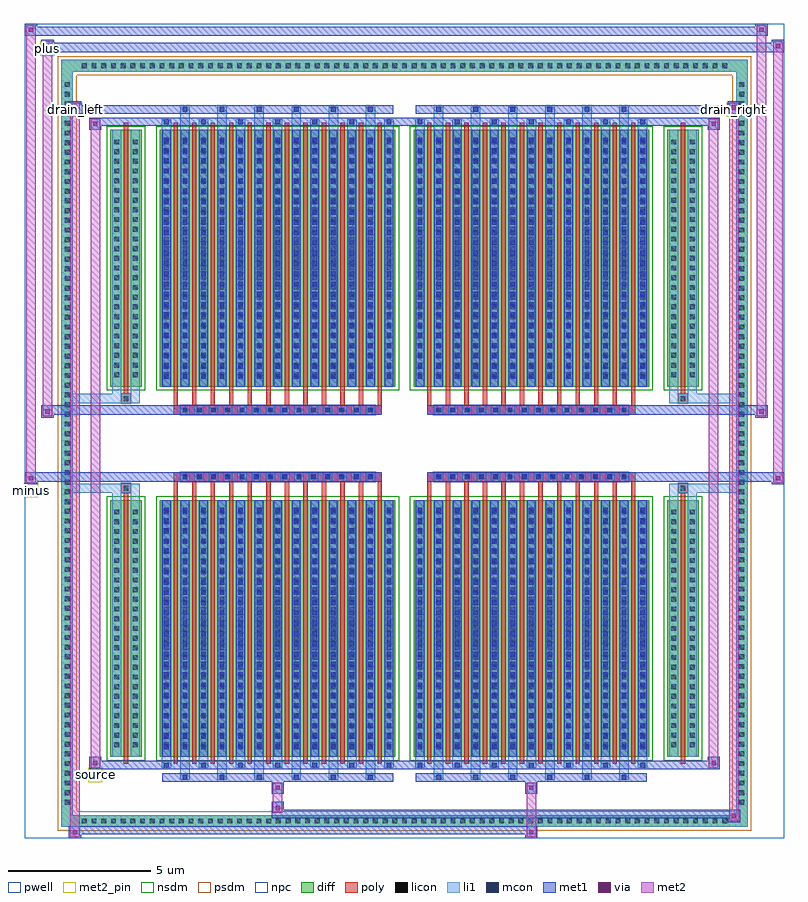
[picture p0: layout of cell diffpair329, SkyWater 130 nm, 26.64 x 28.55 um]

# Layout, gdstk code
import gdstk
lib = gdstk.Library(unit=1e-6, precision=5e-09)
def R(c, l, rs):  # rectangles x0, y0, x1, y1
    for r in rs: c.add(gdstk.rectangle(r[:2], r[2:], *l))
def A(c, l, x, y, w, h, nx, ny, dx, dy):  # array of equal rectangles
    R(c, l, [(x+i*dx, y+j*dy, x+i*dx+w, y+j*dy+h) for i in range(nx) for j in range(ny)])
def P(c, l, *ps):  # polygons
    for p in ps: c.add(gdstk.Polygon(p, *l))
pwell = (64, 44)
diff = (65, 20)
poly = (66, 20)
licon = (66, 44)
li1 = (67, 20)
mcon = (67, 44)
met1 = (68, 20)
via = (68, 44)
met2_pin = (69, 16)
met2 = (69, 20)
nsdm = (93, 44)
psdm = (94, 20)
npc = (95, 20)

diffpair329 = lib.new_cell('diffpair329')
R(diffpair329, pwell, [(-13.3,-13.84,13.3,14.71), (-10.62,-12.03,-0.01,-0.805), (0.01,-12.03,10.62,-0.805), (-10.62,0.805,-0.01,12.03), (0.01,0.805,10.62,12.03)])
A(diffpair329, diff, -11.425, -13.44, 0.41, 0.41, 67, 2, 0.34, 26.47)
A(diffpair329, diff, -12.03, -12.785, 0.41, 0.41, 1, 75, 0, 0.34)
A(diffpair329, diff, 11.62, -12.785, 0.41, 0.41, 1, 75, 0, 0.34)
R(diffpair329, diff, [(-11.425,-13.44,11.425,-13.03), (-12.03,-12.785,-11.62,12.785), (11.62,-12.785,12.03,12.785), (-10.31,-10.985,-9.21,-1.985), (-8.57,-10.985,-0.32,-1.985), (0.32,-10.985,8.57,-1.985), (9.21,-10.985,10.31,-1.985), (-10.31,1.985,-9.21,10.985), (-8.57,1.985,-0.32,10.985), (0.32,1.985,8.57,10.985), (9.21,1.985,10.31,10.985), (-11.425,13.03,11.425,13.44)])
P(diffpair329, diff, [(12.03,13.44),(-12.03,13.44),(-12.03,-13.03),(-11.62,-13.03),(-11.62,13.03),(11.62,13.03),(11.62,-13.03),(-11.62,-13.03),(-12.03,-13.03),(-12.03,-13.44),(12.03,-13.44)])
A(diffpair329, poly, -8.095, -11.235, 0.15, 9.5, 12, 2, 0.65, 12.97)
A(diffpair329, poly, 0.795, -11.235, 0.15, 9.5, 12, 2, 0.65, 12.97)
A(diffpair329, poly, -8.095, -1.735, 0.15, 0.4, 12, 2, 0.65, 3.07)
A(diffpair329, poly, 0.795, -1.735, 0.15, 0.4, 12, 2, 0.65, 3.07)
A(diffpair329, poly, -7.86, -1.335, 0.33, 0.33, 14, 2, 0.5, 2.34)
A(diffpair329, poly, 1.03, -1.335, 0.33, 0.33, 14, 2, 0.5, 2.34)
R(diffpair329, poly, [(-9.835,-11.235,-9.685,-1.735), (9.685,-11.235,9.835,-1.735), (-9.925,-1.735,-9.595,-1.405), (-9.925,-1.735,-9.595,-1.405), (9.595,-1.735,9.925,-1.405), (9.595,-1.735,9.925,-1.405), (-8.095,-1.335,-0.795,-1.005), (0.795,-1.335,8.095,-1.005), (-8.095,1.005,-0.795,1.335), (0.795,1.005,8.095,1.335), (-9.925,1.405,-9.595,1.735), (-9.925,1.405,-9.595,1.735), (9.595,1.405,9.925,1.735), (9.595,1.405,9.925,1.735), (-9.835,1.735,-9.685,11.235), (9.685,1.735,9.835,11.235)])
A(diffpair329, licon, -11.305, -13.32, 0.17, 0.17, 67, 2, 0.34, 26.47)
A(diffpair329, licon, -11.91, -12.665, 0.17, 0.17, 1, 75, 0, 0.34)
A(diffpair329, licon, 11.74, -12.665, 0.17, 0.17, 1, 75, 0, 0.34)
A(diffpair329, licon, -10.17, -10.65, 0.17, 0.17, 1, 25, 0, 0.34)
A(diffpair329, licon, -9.52, -10.65, 0.17, 0.17, 1, 25, 0, 0.34)
A(diffpair329, licon, -8.43, -10.65, 0.17, 0.17, 13, 25, 0.65, 0.34)
A(diffpair329, licon, 0.46, -10.65, 0.17, 0.17, 13, 25, 0.65, 0.34)
A(diffpair329, licon, 9.35, -10.65, 0.17, 0.17, 1, 25, 0, 0.34)
A(diffpair329, licon, 10, -10.65, 0.17, 0.17, 1, 25, 0, 0.34)
A(diffpair329, licon, -7.78, -1.255, 0.17, 0.17, 14, 2, 0.5, 2.34)
A(diffpair329, licon, 1.11, -1.255, 0.17, 0.17, 14, 2, 0.5, 2.34)
A(diffpair329, licon, -10.17, 2.32, 0.17, 0.17, 1, 25, 0, 0.34)
A(diffpair329, licon, -9.52, 2.32, 0.17, 0.17, 1, 25, 0, 0.34)
A(diffpair329, licon, -8.43, 2.32, 0.17, 0.17, 13, 25, 0.65, 0.34)
A(diffpair329, licon, 0.46, 2.32, 0.17, 0.17, 13, 25, 0.65, 0.34)
A(diffpair329, licon, 9.35, 2.32, 0.17, 0.17, 1, 25, 0, 0.34)
A(diffpair329, licon, 10, 2.32, 0.17, 0.17, 1, 25, 0, 0.34)
R(diffpair329, licon, [(-9.845,-1.655,-9.675,-1.485), (9.675,-1.655,9.845,-1.485), (-9.845,1.485,-9.675,1.655), (9.675,1.485,9.845,1.655)])
A(diffpair329, li1, -11.385, -13.4, 0.33, 0.33, 67, 2, 0.34, 26.47)
A(diffpair329, li1, -11.99, -12.745, 0.33, 0.33, 1, 75, 0, 0.34)
A(diffpair329, li1, 11.66, -12.745, 0.33, 0.33, 1, 75, 0, 0.34)
A(diffpair329, li1, -7.86, -11.79, 0.33, 0.805, 6, 2, 1.3, 22.775)
A(diffpair329, li1, -7.78, -11.79, 0.17, 0.17, 6, 2, 1.3, 23.41)
A(diffpair329, li1, 1.03, -11.79, 0.33, 0.805, 6, 2, 1.3, 22.775)
A(diffpair329, li1, 1.11, -11.79, 0.17, 0.17, 6, 2, 1.3, 23.41)
A(diffpair329, li1, -8.51, -11.36, 0.33, 0.375, 7, 2, 1.3, 22.345)
A(diffpair329, li1, -8.43, -11.36, 0.17, 0.17, 7, 2, 1.3, 22.55)
A(diffpair329, li1, 0.38, -11.36, 0.33, 0.375, 7, 2, 1.3, 22.345)
A(diffpair329, li1, 0.46, -11.36, 0.17, 0.17, 7, 2, 1.3, 22.55)
A(diffpair329, li1, -8.51, -10.985, 0.33, 9, 13, 2, 0.65, 12.97)
A(diffpair329, li1, 0.38, -10.985, 0.33, 9, 13, 2, 0.65, 12.97)
A(diffpair329, li1, -10.25, -10.73, 0.33, 0.33, 1, 25, 0, 0.34)
A(diffpair329, li1, -9.6, -10.73, 0.33, 0.33, 1, 25, 0, 0.34)
A(diffpair329, li1, -8.51, -10.73, 0.33, 0.33, 13, 25, 0.65, 0.34)
A(diffpair329, li1, 0.38, -10.73, 0.33, 0.33, 13, 25, 0.65, 0.34)
A(diffpair329, li1, 9.27, -10.73, 0.33, 0.33, 1, 25, 0, 0.34)
A(diffpair329, li1, 9.92, -10.73, 0.33, 0.33, 1, 25, 0, 0.34)
A(diffpair329, li1, -8.43, -10.71, 0.17, 0.17, 13, 24, 0.65, 0.36)
A(diffpair329, li1, -8.43, -10.71, 0.17, 8.45, 13, 2, 0.65, 12.97)
A(diffpair329, li1, 0.46, -10.71, 0.17, 0.17, 13, 24, 0.65, 0.36)
A(diffpair329, li1, 0.46, -10.71, 0.17, 8.45, 13, 2, 0.65, 12.97)
A(diffpair329, li1, -7.86, -1.335, 0.33, 0.33, 14, 2, 0.5, 2.34)
A(diffpair329, li1, 1.03, -1.335, 0.33, 0.33, 14, 2, 0.5, 2.34)
A(diffpair329, li1, -10.25, 2.24, 0.33, 0.33, 1, 25, 0, 0.34)
A(diffpair329, li1, -9.6, 2.24, 0.33, 0.33, 1, 25, 0, 0.34)
A(diffpair329, li1, -8.51, 2.24, 0.33, 0.33, 13, 25, 0.65, 0.34)
A(diffpair329, li1, 0.38, 2.24, 0.33, 0.33, 13, 25, 0.65, 0.34)
A(diffpair329, li1, 9.27, 2.24, 0.33, 0.33, 1, 25, 0, 0.34)
A(diffpair329, li1, 9.92, 2.24, 0.33, 0.33, 1, 25, 0, 0.34)
A(diffpair329, li1, -8.43, 2.26, 0.17, 0.17, 13, 24, 0.65, 0.36)
A(diffpair329, li1, 0.46, 2.26, 0.17, 0.17, 13, 24, 0.65, 0.36)
R(diffpair329, li1, [(-12.03,-13.44,-11.62,-13.03), (-12.03,-13.44,-11.62,-13.03), (-11.62,-13.44,11.62,-13.03), (11.62,-13.44,12.03,-13.03), (11.62,-13.44,12.03,-13.03), (-12.03,-13.03,-11.62,13.03), (11.62,-13.03,12.03,13.03), (-10.25,-10.985,-9.92,-1.985), (-9.6,-10.985,-9.27,-1.985), (9.27,-10.985,9.6,-1.985), (9.92,-10.985,10.25,-1.985), (-10.25,-1.985,-9.92,-1.405), (-9.6,-1.985,-9.27,-1.405), (9.27,-1.985,9.6,-1.405), (9.92,-1.985,10.25,-1.405), (-12.03,-1.735,-9.925,-1.405), (-10.25,-1.735,-9.925,-1.405), (-9.925,-1.735,-9.595,-1.405), (-9.595,-1.735,-9.27,-1.405), (9.27,-1.735,9.595,-1.405), (9.595,-1.735,9.925,-1.405), (9.595,-1.735,12.03,-1.405), (9.925,-1.735,10.25,-1.405), (-12.03,1.405,-9.925,1.735), (-10.25,1.405,-9.925,1.735), (-10.25,1.405,-9.92,1.985), (-9.925,1.405,-9.595,1.735), (-9.6,1.405,-9.27,1.985), (-9.595,1.405,-9.27,1.735), (9.27,1.405,9.595,1.735), (9.27,1.405,9.6,1.985), (9.595,1.405,9.925,1.735), (9.595,1.405,12.03,1.735), (9.92,1.405,10.25,1.985), (9.925,1.405,10.25,1.735), (-10.25,1.985,-9.92,10.985), (-9.6,1.985,-9.27,10.985), (9.27,1.985,9.6,10.985), (9.92,1.985,10.25,10.985), (-12.03,13.03,-11.62,13.44), (-12.03,13.03,-11.62,13.44), (-11.62,13.03,11.62,13.44), (11.62,13.03,12.03,13.44), (11.62,13.03,12.03,13.44)])
A(diffpair329, mcon, -7.78, -11.79, 0.17, 0.17, 6, 2, 1.3, 23.41)
A(diffpair329, mcon, 1.11, -11.79, 0.17, 0.17, 6, 2, 1.3, 23.41)
A(diffpair329, mcon, -8.43, -11.36, 0.17, 0.17, 7, 2, 1.3, 22.55)
A(diffpair329, mcon, 0.46, -11.36, 0.17, 0.17, 7, 2, 1.3, 22.55)
A(diffpair329, mcon, -8.43, -10.71, 0.17, 0.17, 13, 24, 0.65, 0.36)
A(diffpair329, mcon, 0.46, -10.71, 0.17, 0.17, 13, 24, 0.65, 0.36)
A(diffpair329, mcon, -7.78, -1.255, 0.17, 0.17, 14, 2, 0.5, 2.34)
A(diffpair329, mcon, 1.11, -1.255, 0.17, 0.17, 14, 2, 0.5, 2.34)
A(diffpair329, mcon, -8.43, 2.26, 0.17, 0.17, 13, 24, 0.65, 0.36)
A(diffpair329, mcon, 0.46, 2.26, 0.17, 0.17, 13, 24, 0.65, 0.36)
A(diffpair329, met1, -7.84, -11.85, 0.29, 0.29, 6, 2, 1.3, 23.41)
A(diffpair329, met1, 1.05, -11.85, 0.29, 0.29, 6, 2, 1.3, 23.41)
A(diffpair329, met1, -8.49, -11.42, 0.29, 0.29, 7, 2, 1.3, 22.55)
A(diffpair329, met1, 0.4, -11.42, 0.29, 0.29, 7, 2, 1.3, 22.55)
A(diffpair329, met1, -8.49, -10.985, 0.29, 9, 13, 2, 0.65, 12.97)
A(diffpair329, met1, 0.4, -10.985, 0.29, 9, 13, 2, 0.65, 12.97)
A(diffpair329, met1, -8.49, -10.77, 0.29, 0.29, 13, 24, 0.65, 0.36)
A(diffpair329, met1, 0.4, -10.77, 0.29, 0.29, 13, 24, 0.65, 0.36)
A(diffpair329, met1, -7.84, -1.315, 0.29, 0.29, 14, 2, 0.5, 2.34)
A(diffpair329, met1, 1.05, -1.315, 0.29, 0.29, 14, 2, 0.5, 2.34)
A(diffpair329, met1, -8.49, 2.2, 0.29, 0.29, 13, 24, 0.65, 0.36)
A(diffpair329, met1, 0.4, 2.2, 0.29, 0.29, 13, 24, 0.65, 0.36)
R(diffpair329, met1, [(-11.76,-13.84,-11.33,-13.41), (4.23,-13.84,4.66,-13.41), (-11.76,-13.7,4.66,-13.41), (11.33,-13.27,11.76,-12.84), (-4.66,-13.13,11.76,-12.84), (-4.66,-12.99,-4.23,-12.56), (-4.66,-12.28,-4.23,-11.85), (4.23,-12.28,4.66,-11.85), (-8.49,-11.85,-0.4,-11.56), (0.4,-11.85,8.49,-11.56), (-11.05,-11.42,-10.62,-10.99), (-11.05,-11.42,-8.49,-11.13), (-8.49,-11.42,-0.4,-11.13), (-0.4,-11.42,0.4,-11.13), (0.4,-11.42,8.49,-11.13), (8.49,-11.42,11.05,-11.13), (10.62,-11.42,11.05,-10.99), (-13.3,-1.435,-12.87,-1.005), (12.87,-1.435,13.3,-1.005), (-13.3,-1.335,-0.795,-1.005), (-8.095,-1.335,-0.795,-1.005), (0.795,-1.335,8.095,-1.005), (0.795,-1.335,13.3,-1.005), (-12.73,0.905,-12.3,1.335), (12.3,0.905,12.73,1.335), (-12.73,1.005,-8.095,1.335), (-8.095,1.005,-0.795,1.335), (0.795,1.005,8.095,1.335), (8.095,1.005,12.73,1.335), (-11.05,10.99,-10.62,11.42), (10.62,10.99,11.05,11.42), (-11.05,11.13,-8.49,11.42), (-8.49,11.13,-0.4,11.42), (-0.4,11.13,0.4,11.42), (0.4,11.13,8.49,11.42), (8.49,11.13,11.05,11.42), (-11.76,11.56,-11.33,11.99), (-11.76,11.56,-8.49,11.85), (-8.49,11.56,-0.4,11.85), (0.4,11.56,8.49,11.85), (8.49,11.56,11.76,11.85), (11.33,11.56,11.76,11.99), (-12.73,13.71,-12.3,14.14), (-12.73,13.71,-10.62,14.04), (-10.62,13.71,10.62,14.04), (10.62,13.71,13.3,14.04), (12.87,13.71,13.3,14.14), (-13.3,14.28,-12.87,14.71), (-13.3,14.28,-10.62,14.61), (-10.62,14.28,10.62,14.61), (10.62,14.28,12.73,14.61), (12.3,14.28,12.73,14.71)])
R(diffpair329, via, [(-11.62,-13.7,-11.47,-13.55), (4.37,-13.7,4.52,-13.55), (11.47,-13.13,11.62,-12.98), (-4.52,-12.85,-4.37,-12.7), (-4.52,-12.14,-4.37,-11.99), (4.37,-12.14,4.52,-11.99), (-10.91,-11.28,-10.76,-11.13), (10.76,-11.28,10.91,-11.13), (-13.16,-1.295,-13.01,-1.145), (13.01,-1.295,13.16,-1.145), (-12.59,1.045,-12.44,1.195), (12.44,1.045,12.59,1.195), (-10.91,11.13,-10.76,11.28), (10.76,11.13,10.91,11.28), (-11.62,11.7,-11.47,11.85), (11.47,11.7,11.62,11.85), (-12.59,13.85,-12.44,14), (13.01,13.85,13.16,14), (-13.16,14.42,-13.01,14.57), (12.44,14.42,12.59,14.57)])
R(diffpair329, met2_pin, [(-11.085,-11.87,-10.585,-11.37), (-13.335,-1.885,-12.835,-1.385), (-11.795,11.44,-11.295,11.94), (11.295,11.44,11.795,11.94), (-12.765,13.59,-12.265,14.09)])
R(diffpair329, met2, [(-11.71,-13.79,-11.38,-13.46), (-11.71,-13.79,-11.38,11.94), (4.28,-13.79,4.61,-13.46), (4.28,-13.46,4.61,-12.23), (11.38,-13.22,11.71,-12.89), (11.38,-13.22,11.71,11.94), (-4.61,-12.94,-4.28,-12.61), (-4.61,-12.61,-4.28,-12.23), (-4.61,-12.23,-4.28,-11.9), (4.28,-12.23,4.61,-11.9), (-11,-11.37,-10.67,-11.04), (-11,-11.37,-10.67,11.37), (10.67,-11.37,11,-11.04), (10.67,-11.37,11,11.37), (-13.25,-1.385,-12.92,-1.055), (-13.25,-1.385,-12.92,14.66), (12.92,-1.385,13.25,-1.055), (12.92,-1.385,13.25,14.09), (-12.68,0.955,-12.35,1.285), (-12.68,0.955,-12.35,14.09), (12.35,0.955,12.68,1.285), (12.35,0.955,12.68,14.66), (-11,11.04,-10.67,11.37), (10.67,11.04,11,11.37), (-11.71,11.61,-11.38,11.94), (11.38,11.61,11.71,11.94), (-12.68,13.76,-12.35,14.09), (12.92,13.76,13.25,14.09), (-13.25,14.33,-12.92,14.66), (12.35,14.33,12.68,14.66)])
P(diffpair329, met2, [(13.25,-1.385),(13.25,-1.385),(13.25,-1.055),(13.25,-1.055)],
  [(13.25,13.76),(13.25,13.76),(13.25,14.09),(13.25,14.09)],
  [(-12.92,-1.385),(-12.92,-1.385),(-12.92,-1.055),(-12.92,-1.055)],
  [(-12.92,14.33),(-12.92,14.33),(-12.92,14.66),(-12.92,14.66)],
  [(12.68,0.955),(12.68,0.955),(12.68,1.285),(12.68,1.285)],
  [(12.68,14.33),(12.68,14.33),(12.68,14.66),(12.68,14.66)],
  [(-12.35,0.955),(-12.35,0.955),(-12.35,1.285),(-12.35,1.285)],
  [(-12.35,13.76),(-12.35,13.76),(-12.35,14.09),(-12.35,14.09)],
  [(-11.38,-13.79),(-11.38,-13.79),(-11.38,-13.46),(-11.38,-13.46)],
  [(-11.38,11.61),(-11.38,11.61),(-11.38,11.94),(-11.38,11.94)],
  [(11.71,-13.22),(11.71,-13.22),(11.71,-12.89),(11.71,-12.89)],
  [(11.71,11.61),(11.71,11.61),(11.71,11.94),(11.71,11.94)],
  [(-10.67,-11.37),(-10.67,-11.37),(-10.67,-11.04),(-10.67,-11.04)],
  [(-10.67,11.04),(-10.67,11.04),(-10.67,11.37),(-10.67,11.37)],
  [(11,-11.37),(11,-11.37),(11,-11.04),(11,-11.04)],
  [(11,11.04),(11,11.04),(11,11.37),(11,11.37)])
R(diffpair329, nsdm, [(-10.44,-11.115,-9.08,-1.855), (-8.7,-11.115,-0.19,-1.855), (0.19,-11.115,8.7,-1.855), (9.08,-11.115,10.44,-1.855), (-10.44,1.855,-9.08,11.115), (-8.7,1.855,-0.19,11.115), (0.19,1.855,8.7,11.115), (9.08,1.855,10.44,11.115)])
P(diffpair329, psdm, [(12.16,13.57),(-12.16,13.57),(-12.16,-12.9),(-11.49,-12.9),(-11.49,12.9),(11.49,12.9),(11.49,-12.9),(-11.49,-12.9),(-12.16,-12.9),(-12.16,-13.57),(12.16,-13.57)])
A(diffpair329, npc, -7.88, -1.355, 0.37, 0.37, 14, 2, 0.5, 2.34)
A(diffpair329, npc, 1.01, -1.355, 0.37, 0.37, 14, 2, 0.5, 2.34)
R(diffpair329, npc, [(-9.945,-1.755,-9.575,-1.385), (9.575,-1.755,9.945,-1.385), (-7.88,-1.355,-7.01,-0.985), (-7.88,-1.355,-7.01,-0.985), (-7.38,-1.355,-6.51,-0.985), (-7.38,-1.355,-6.51,-0.985), (-6.88,-1.355,-6.01,-0.985), (-6.88,-1.355,-6.01,-0.985), (-6.38,-1.355,-5.51,-0.985), (-6.38,-1.355,-5.51,-0.985), (-5.88,-1.355,-5.01,-0.985), (-5.88,-1.355,-5.01,-0.985), (-5.38,-1.355,-4.51,-0.985), (-5.38,-1.355,-4.51,-0.985), (-4.88,-1.355,-4.01,-0.985), (-4.88,-1.355,-4.01,-0.985), (-4.38,-1.355,-3.51,-0.985), (-4.38,-1.355,-3.51,-0.985), (-3.88,-1.355,-3.01,-0.985), (-3.88,-1.355,-3.01,-0.985), (-3.38,-1.355,-2.51,-0.985), (-3.38,-1.355,-2.51,-0.985), (-2.88,-1.355,-2.01,-0.985), (-2.88,-1.355,-2.01,-0.985), (-2.38,-1.355,-1.51,-0.985), (-2.38,-1.355,-1.51,-0.985), (-1.88,-1.355,-1.01,-0.985), (-1.88,-1.355,-1.01,-0.985), (1.01,-1.355,1.88,-0.985), (1.01,-1.355,1.88,-0.985), (1.51,-1.355,2.38,-0.985), (1.51,-1.355,2.38,-0.985), (2.01,-1.355,2.88,-0.985), (2.01,-1.355,2.88,-0.985), (2.51,-1.355,3.38,-0.985), (2.51,-1.355,3.38,-0.985), (3.01,-1.355,3.88,-0.985), (3.01,-1.355,3.88,-0.985), (3.51,-1.355,4.38,-0.985), (3.51,-1.355,4.38,-0.985), (4.01,-1.355,4.88,-0.985), (4.01,-1.355,4.88,-0.985), (4.51,-1.355,5.38,-0.985), (4.51,-1.355,5.38,-0.985), (5.01,-1.355,5.88,-0.985), (5.01,-1.355,5.88,-0.985), (5.51,-1.355,6.38,-0.985), (5.51,-1.355,6.38,-0.985), (6.01,-1.355,6.88,-0.985), (6.01,-1.355,6.88,-0.985), (6.51,-1.355,7.38,-0.985), (6.51,-1.355,7.38,-0.985), (7.01,-1.355,7.88,-0.985), (7.01,-1.355,7.88,-0.985), (-7.88,0.985,-7.01,1.355), (-7.88,0.985,-7.01,1.355), (-7.38,0.985,-6.51,1.355), (-7.38,0.985,-6.51,1.355), (-6.88,0.985,-6.01,1.355), (-6.88,0.985,-6.01,1.355), (-6.38,0.985,-5.51,1.355), (-6.38,0.985,-5.51,1.355), (-5.88,0.985,-5.01,1.355), (-5.88,0.985,-5.01,1.355), (-5.38,0.985,-4.51,1.355), (-5.38,0.985,-4.51,1.355), (-4.88,0.985,-4.01,1.355), (-4.88,0.985,-4.01,1.355), (-4.38,0.985,-3.51,1.355), (-4.38,0.985,-3.51,1.355), (-3.88,0.985,-3.01,1.355), (-3.88,0.985,-3.01,1.355), (-3.38,0.985,-2.51,1.355), (-3.38,0.985,-2.51,1.355), (-2.88,0.985,-2.01,1.355), (-2.88,0.985,-2.01,1.355), (-2.38,0.985,-1.51,1.355), (-2.38,0.985,-1.51,1.355), (-1.88,0.985,-1.01,1.355), (-1.88,0.985,-1.01,1.355), (1.01,0.985,1.88,1.355), (1.01,0.985,1.88,1.355), (1.51,0.985,2.38,1.355), (1.51,0.985,2.38,1.355), (2.01,0.985,2.88,1.355), (2.01,0.985,2.88,1.355), (2.51,0.985,3.38,1.355), (2.51,0.985,3.38,1.355), (3.01,0.985,3.88,1.355), (3.01,0.985,3.88,1.355), (3.51,0.985,4.38,1.355), (3.51,0.985,4.38,1.355), (4.01,0.985,4.88,1.355), (4.01,0.985,4.88,1.355), (4.51,0.985,5.38,1.355), (4.51,0.985,5.38,1.355), (5.01,0.985,5.88,1.355), (5.01,0.985,5.88,1.355), (5.51,0.985,6.38,1.355), (5.51,0.985,6.38,1.355), (6.01,0.985,6.88,1.355), (6.01,0.985,6.88,1.355), (6.51,0.985,7.38,1.355), (6.51,0.985,7.38,1.355), (7.01,0.985,7.88,1.355), (7.01,0.985,7.88,1.355), (-9.945,1.385,-9.575,1.755), (9.575,1.385,9.945,1.755)])
diffpair329.add(gdstk.Label('minus', (-13.085,-1.635), layer=69, texttype=5))
diffpair329.add(gdstk.Label('drain_right', (11.545,11.69), layer=69, texttype=5))
diffpair329.add(gdstk.Label('drain_left', (-11.545,11.69), layer=69, texttype=5))
diffpair329.add(gdstk.Label('source', (-10.835,-11.62), layer=69, texttype=5))
diffpair329.add(gdstk.Label('plus', (-12.515,13.84), layer=69, texttype=5))

lib.write_gds('diffpair329.gds')
